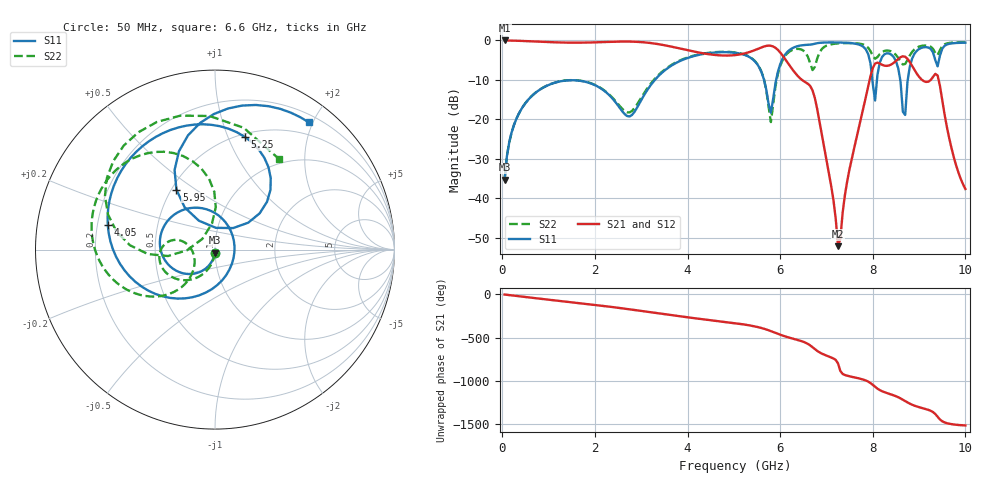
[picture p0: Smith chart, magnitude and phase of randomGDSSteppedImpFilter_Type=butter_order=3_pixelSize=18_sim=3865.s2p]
! freq	dB(S11)	phase(S11)	dB(S12)	phase(S12)
!  dB(S21)	phase(S21)	dB(S22)	phase(S22)
!S-par simulation data
#  GHz  S  DB  R 50
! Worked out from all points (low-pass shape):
!   200 points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, 50 MHz to 10 GHz, reference 50 ohm
!   highest |S21| = -0.01 dB at 50 MHz (marker M1); lowest = -52.1 dB at 7.25 GHz (marker M2)
!   |S21| within 3 dB of the highest: start of sweep to 4.217 GHz; 5.32 GHz to 5.998 GHz (677.7 MHz wide, 12 % of centre)
!   lowest |S11| = -35.3 dB at 50 MHz (marker M3), VSWR 1.04, Z = 49.9 - j1.72 ohm
!   |S11| at or under -10 dB: start of sweep to 3.296 GHz; 5.652 GHz to 5.914 GHz (261.8 MHz wide, 4.53 % of centre); 8.593 GHz to 8.755 GHz (161.7 MHz wide, 1.86 % of centre) (the widest 3 of 4)
!   |S22| runs from -35.2 to -0.5 dB; largest |S21 - S12| = 0
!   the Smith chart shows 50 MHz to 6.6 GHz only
!   S11 on the Smith chart (normalised r, x): 50 MHz: 1.00, -0.03; 4.05 GHz: 0.24, +0.11; 5.25 GHz: 0.53, +1.15; 5.95 GHz: 0.53, +0.42; 6.6 GHz: 0.31, +1.94
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0.05  -35.26 -93.5  -0.01 -3.3  -0.01 -3.3  -35.25 -92.6
0.5  -15.88 -126.7  -0.16 -31.9  -0.16 -31.9  -15.86 -118.0
1.75  -10.36 143.0  -0.55 -107.4  -0.55 -107.4  -10.32 -178.4
2.75  -19.25 -8.2  -0.29 -174.2  -0.29 -174.2  -18.21 -160.6
3.4  -8.70 -132.8  -1.00 136.4  -1.00 136.4  -8.46 -137.7
4.05  -4.25 167.2  -2.60 89.9  -2.60 89.9  -4.13 -169.1
5.05  -3.16 91.6  -3.69 23.9  -3.69 23.9  -3.08 138.2
5.25  -3.74 75.3  -3.24 8.1  -3.24 8.1  -3.67 125.0
5.8  -18.32 87.7  -1.35 -66.1  -1.35 -66.1  -20.68 139.9
5.95  -8.01 122.7  -2.39 -97.4  -2.39 -97.4  -8.53 -176.2
6.25  -2.05 84.7  -7.10 -149.5  -7.10 -149.5  -2.48 139.0
6.6  -1.10 53.6  -11.00 145.7  -11.00 145.7  -4.17 55.0
6.7  -0.97 47.5  -12.67 107.6  -12.67 107.6  -7.51 -29.0
6.9  -0.56 33.7  -23.82 34.0  -23.82 34.0  -2.18 -175.2
7.25  -0.52 10.4  -52.11 -80.4  -52.11 -80.4  -0.75 131.2
7.95  -5.78 -65.3  -9.07 54.0  -9.07 54.0  -2.70 76.9
8.05  -15.22 -10.6  -5.86 10.4  -5.86 10.4  -4.63 83.6
8.35  -3.30 -29.9  -6.34 -70.2  -6.34 -70.2  -2.59 77.9
8.65  -18.08 -70.8  -4.02 -139.1  -4.02 -139.1  -6.10 74.5
8.75  -10.38 39.0  -4.66 -170.7  -4.66 -170.7  -4.95 88.9
9.4  -6.57 -22.5  -8.86 23.7  -8.86 23.7  -3.74 61.7
10  -0.57 -49.7  -37.63 -76.8  -37.63 -76.8  -0.45 35.6
